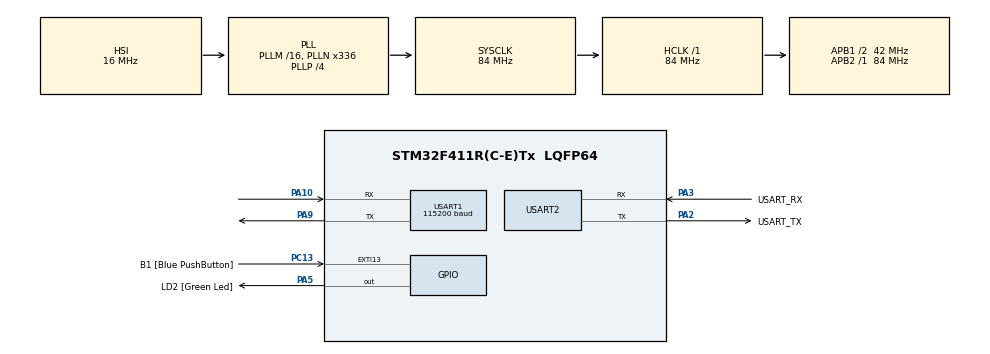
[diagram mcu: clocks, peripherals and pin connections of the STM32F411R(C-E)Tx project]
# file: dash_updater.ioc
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Mcu.Family=STM32F4
Mcu.Name=STM32F411R(C-E)Tx
Mcu.Package=LQFP64
NVIC.PriorityGroup=NVIC_PRIORITYGROUP_0
PA10.Mode=Asynchronous
PA10.Signal=USART1_RX
PA13.GPIO_Label=TMS
PA13.Mode=Serial_Wire
PA13.Signal=SYS_JTMS-SWDIO
PA14.GPIO_Label=TCK
PA14.Mode=Serial_Wire
PA14.Signal=SYS_JTCK-SWCLK
PA2.GPIO_Label=USART_TX
PA2.Mode=Asynchronous
PA2.Signal=USART2_TX
PA3.GPIO_Label=USART_RX
PA3.Mode=Asynchronous
PA3.Signal=USART2_RX
PA5.GPIO_Label=LD2 [Green Led]
PA5.Signal=GPIO_Output
PA9.Mode=Asynchronous
PA9.Signal=USART1_TX
PB3.GPIO_Label=SWO
PB3.Signal=SYS_JTDO-SWO
PC13-ANTI_TAMP.GPIO_Label=B1 [Blue PushButton]
PC13-ANTI_TAMP.GPIO_ModeDefaultEXTI=GPIO_MODE_IT_FALLING
PC13-ANTI_TAMP.Signal=GPXTI13
PC14-OSC32_IN.Mode=LSE-External-Oscillator
PC14-OSC32_IN.Signal=RCC_OSC32_IN
PC15-OSC32_OUT.Mode=LSE-External-Oscillator
PC15-OSC32_OUT.Signal=RCC_OSC32_OUT
PH0\ -\ OSC_IN.Mode=HSE-External-Clock-Source
PH0\ -\ OSC_IN.Signal=RCC_OSC_IN
PH1\ -\ OSC_OUT.Mode=HSE-External-Clock-Source
PH1\ -\ OSC_OUT.Signal=RCC_OSC_OUT
ProjectManager.HeapSize=0x200
ProjectManager.StackSize=0x400
ProjectManager.TargetToolchain=STM32CubeIDE
RCC.48MHZClocksFreq_Value=84000000
RCC.AHBFreq_Value=84000000
RCC.APB1CLKDivider=RCC_HCLK_DIV2
RCC.APB1Freq_Value=42000000
RCC.APB1TimFreq_Value=84000000
RCC.APB2Freq_Value=84000000
RCC.APB2TimFreq_Value=84000000
RCC.CortexFreq_Value=84000000
RCC.FLatency-AdvancedSettings=FLASH_LATENCY_2
RCC.HCLKFreq_Value=84000000
RCC.HSE_VALUE=8000000
RCC.HSI_VALUE=16000000
RCC.PLLN=336
RCC.PLLP=RCC_PLLP_DIV4
RCC.SYSCLKFreq_VALUE=84000000
RCC.SYSCLKSource=RCC_SYSCLKSOURCE_PLLCLK
RCC.VCOOutputFreq_Value=336000000
USART1.BaudRate=115200
USART1.VirtualMode=VM_ASYNC
USART2.VirtualMode=VM_ASYNC
board=NUCLEO-F411RE

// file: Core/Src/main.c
/* USER CODE BEGIN Header */
/**
  ******************************************************************************
  * @file           : main.c
  * @brief          : Main program body
  ******************************************************************************
  * @attention
  *
  * Copyright (c) 2024 STMicroelectronics.
  * All rights reserved.
  *
  * This software is licensed under terms that can be found in the LICENSE file
  * in the root directory of this software component.
  * If no LICENSE file comes with this software, it is provided AS-IS.
  *
  ******************************************************************************
  */
/* USER CODE END Header */
#include "main.h"
#include "math.h"
#include "stdio.h"
#include "stdlib.h"
#include <stdint.h>
#include <time.h>
#include "nextion_comunication.h"

UART_HandleTypeDef huart1;
UART_HandleTypeDef huart2;

void SystemClock_Config(void);
static void MX_GPIO_Init(void);
static void MX_USART2_UART_Init(void);
static void MX_USART1_UART_Init(void);

/* USER CODE BEGIN 0 */
void procesarReceivedCan(uint16_t valor) {
    // Generar un número aleatorio entre 0 y 9
    int random_value = rand() % 100;
    int rev = rand() % 9000;

    char text[4]; // Suponiendo que los valores aleatorios solo van de 0 a 9
    sprintf(text, "%d", random_value);

    // Añadir un retraso de 10ms
    HAL_Delay(10);

    switch(valor) {
        case 0x110:
        	NEXTION_SendText(&huart1,"speed", text, NULL);

            break;
        case 0x120:
        	NEXTION_SendText(&huart1,"voltage", text, "V");
        	if (random_value > 0 && random_value <= 50) {
        	    NEXTION_Alert(&huart1, 0); //black
        	    NEXTION_estado_color(&huart1, "voltage", 36609);  //green-
        	} else if (random_value > 50 && random_value <= 80) {
        	    NEXTION_Alert(&huart1, 0); //black
        	    NEXTION_estado_color(&huart1, "voltage", 64520); //orange
        	} else if (random_value > 91) {
        	    NEXTION_Alert(&huart1, 63488); // red
        	    NEXTION_estado_color(&huart1, "voltage", 63488); //red
        	}

            break;

        case 0x655:
        	NEXTION_SendNumber(&huart1, "brakePedal", random_value);
            break;
        case 0x640:
        	strcpy(text, "2");
        	NEXTION_SendText(&huart1,"revValue", "car", " RPM");
            break;
        case 0x641:
        	NEXTION_SendText(&huart1,"gear", text, NULL);
            break;
        case 0x642:
        	NEXTION_SendNumber(&huart1, "acePedal", random_value);
            break;
        case 0x643:
        	NEXTION_SendText(&huart1,"brake1", text, "\xB0");
            break;
        case 0x644:
        	NEXTION_SendText(&huart1,"brake2", text, "\xB0");
            break;
        case 0x645:
        	NEXTION_SendText(&huart1,"brake3", text, "\xB0");
            break;
        case 0x646:
        	NEXTION_SendText(&huart1,"brake4", text, "\xB0");
            break;
        case 0x647:
        	NEXTION_SendText(&huart1,"engineTemp", text, "\xB0");
        	if (random_value > 0 && random_value <= 50) {
        	    NEXTION_Alert(&huart1,0); //black
        	    NEXTION_estado_color(&huart1, "engineTemp", 36609);  //green
        	} else if (random_value > 50 && random_value <= 80) {
        	    NEXTION_Alert(&huart1,0);
        	    NEXTION_estado_color(&huart1, "engineTemp", 64520); //orange
        	} else if (random_value > 91) {
        	    NEXTION_Alert(&huart1,63488); // red
        	    NEXTION_estado_color(&huart1, "engineTemp", 63488); // red
        	}

			break;

        case 0x648:
        	NEXTION_Send_Revs_v2(&huart1, rev);
            break;
        default:
            break;
    }
}
/* USER CODE END 0 */

int main(void)
{

  /* MCU Configuration--------------------------------------------------------*/

  /* Reset of all peripherals, Initializes the Flash interface and the Systick. */
  HAL_Init();

  /* USER CODE BEGIN Init */
    // Semilla para la generación de números aleatorios
    srand(time(NULL));
  /* USER CODE END Init */

  /* Configure the system clock */
  SystemClock_Config();

  /* Initialize all configured peripherals */
  MX_GPIO_Init();
  MX_USART2_UART_Init();
  MX_USART1_UART_Init();
  /* USER CODE BEGIN 2 */
  //Mostrar landing view
  //NEXTION_SendPageChange(&huart1,"page0");
  //HAL_Delay(2800);
  //Mostrar dash view
  //NEXTION_SendPageChange(&huart1,"page2");
  HAL_Delay(3400);
  //Mostrar dash view
  //NEXTION_SendPageChange(&huart1,"page3");
  //HAL_Delay(2800);
  //Mostrar dash view
  NEXTION_SendPageChange(&huart1,"page1");

  //Inicializar interfaz a negro (por si se quedó con estilos a rojo por NEXTION_Alert())
  NEXTION_Alert(&huart1, 0);
  /* USER CODE END 2 */

  /* Infinite loop */
  /* USER CODE BEGIN WHILE */
  while (1)
  {
	  	//HAL_Delay(400);
	  	int randoom_value = 2;
	  	char text[20]; // Declarar variable donde alamcenar la conversión
	  	sprintf(text, "%d", randoom_value); //Inicializar la conversión

	  	// Generar valor aleatorio entre 0 y 9
	  	int random_value = rand() % 12;

	  	switch(random_value) {
	  		case 0:
	  			procesarReceivedCan(0x110);
	  			break;
	  		case 1:
	  			procesarReceivedCan(0x120);
	  			break;
	  		case 2:
	  			procesarReceivedCan(0x655);
	  			break;
	  		case 3:
	  			procesarReceivedCan(0x640);
	  			break;
	  		case 4:
	  			procesarReceivedCan(0x641);
	  			break;
	  		case 5:
	  			procesarReceivedCan(0x642);
	  			break;
	  		case 6:
	  			procesarReceivedCan(0x643);
	  			break;
	  		case 7:
	  			procesarReceivedCan(0x644);
	  			break;
	  		case 8:
	  			procesarReceivedCan(0x645);
	  			break;
	  		case 9:
	  			procesarReceivedCan(0x646);
	  			break;
	  		case 10:
	  			procesarReceivedCan(0x647);
	  			break;
	  		case 11:
	  			procesarReceivedCan(0x648);
	  			break;
	  		default:
	  			printf("Número aleatorio fuera de rango\n");
	  			break;
	  	}

	}

}

void SystemClock_Config(void)
{
  RCC_OscInitTypeDef RCC_OscInitStruct = {0};
  RCC_ClkInitTypeDef RCC_ClkInitStruct = {0};

  /** Configure the main internal regulator output voltage
  */
  __HAL_RCC_PWR_CLK_ENABLE();
  __HAL_PWR_VOLTAGESCALING_CONFIG(PWR_REGULATOR_VOLTAGE_SCALE1);

  /** Initializes the RCC Oscillators according to the specified parameters
  * in the RCC_OscInitTypeDef structure.
  */
  RCC_OscInitStruct.OscillatorType = RCC_OSCILLATORTYPE_HSI;
  RCC_OscInitStruct.HSIState = RCC_HSI_ON;
  RCC_OscInitStruct.HSICalibrationValue = RCC_HSICALIBRATION_DEFAULT;
  RCC_OscInitStruct.PLL.PLLState = RCC_PLL_ON;
  RCC_OscInitStruct.PLL.PLLSource = RCC_PLLSOURCE_HSI;
  RCC_OscInitStruct.PLL.PLLM = 16;
  RCC_OscInitStruct.PLL.PLLN = 336;
  RCC_OscInitStruct.PLL.PLLP = RCC_PLLP_DIV4;
  RCC_OscInitStruct.PLL.PLLQ = 4;
  if (HAL_RCC_OscConfig(&RCC_OscInitStruct) != HAL_OK)
  {
    Error_Handler();
  }

  /** Initializes the CPU, AHB and APB buses clocks
  */
  RCC_ClkInitStruct.ClockType = RCC_CLOCKTYPE_HCLK|RCC_CLOCKTYPE_SYSCLK
                              |RCC_CLOCKTYPE_PCLK1|RCC_CLOCKTYPE_PCLK2;
  RCC_ClkInitStruct.SYSCLKSource = RCC_SYSCLKSOURCE_PLLCLK;
  RCC_ClkInitStruct.AHBCLKDivider = RCC_SYSCLK_DIV1;
  RCC_ClkInitStruct.APB1CLKDivider = RCC_HCLK_DIV2;
  RCC_ClkInitStruct.APB2CLKDivider = RCC_HCLK_DIV1;

  if (HAL_RCC_ClockConfig(&RCC_ClkInitStruct, FLASH_LATENCY_2) != HAL_OK)
  {
    Error_Handler();
  }
}

static void MX_USART1_UART_Init(void)
{

  huart1.Instance = USART1;
  huart1.Init.BaudRate = 115200;
  huart1.Init.WordLength = UART_WORDLENGTH_8B;
  huart1.Init.StopBits = UART_STOPBITS_1;
  huart1.Init.Parity = UART_PARITY_NONE;
  huart1.Init.Mode = UART_MODE_TX_RX;
  huart1.Init.HwFlowCtl = UART_HWCONTROL_NONE;
  huart1.Init.OverSampling = UART_OVERSAMPLING_16;
  if (HAL_UART_Init(&huart1) != HAL_OK)
  {
    Error_Handler();
  }

}

static void MX_USART2_UART_Init(void)
{

  huart2.Instance = USART2;
  huart2.Init.BaudRate = 115200;
  huart2.Init.WordLength = UART_WORDLENGTH_8B;
  huart2.Init.StopBits = UART_STOPBITS_1;
  huart2.Init.Parity = UART_PARITY_NONE;
  huart2.Init.Mode = UART_MODE_TX_RX;
  huart2.Init.HwFlowCtl = UART_HWCONTROL_NONE;
  huart2.Init.OverSampling = UART_OVERSAMPLING_16;
  if (HAL_UART_Init(&huart2) != HAL_OK)
  {
    Error_Handler();
  }

}

static void MX_GPIO_Init(void)
{
  GPIO_InitTypeDef GPIO_InitStruct = {0};

  /* GPIO Ports Clock Enable */
  __HAL_RCC_GPIOC_CLK_ENABLE();
  __HAL_RCC_GPIOH_CLK_ENABLE();
  __HAL_RCC_GPIOA_CLK_ENABLE();
  __HAL_RCC_GPIOB_CLK_ENABLE();

  /*Configure GPIO pin Output Level */
  HAL_GPIO_WritePin(LD2_GPIO_Port, LD2_Pin, GPIO_PIN_RESET);

  /*Configure GPIO pin : B1_Pin */
  GPIO_InitStruct.Pin = B1_Pin;
  GPIO_InitStruct.Mode = GPIO_MODE_IT_FALLING;
  GPIO_InitStruct.Pull = GPIO_NOPULL;
  HAL_GPIO_Init(B1_GPIO_Port, &GPIO_InitStruct);

  /*Configure GPIO pin : LD2_Pin */
  GPIO_InitStruct.Pin = LD2_Pin;
  GPIO_InitStruct.Mode = GPIO_MODE_OUTPUT_PP;
  GPIO_InitStruct.Pull = GPIO_NOPULL;
  GPIO_InitStruct.Speed = GPIO_SPEED_FREQ_LOW;
  HAL_GPIO_Init(LD2_GPIO_Port, &GPIO_InitStruct);

}

void Error_Handler(void)
{
  __disable_irq();
  while (1)
  {
  }
}
